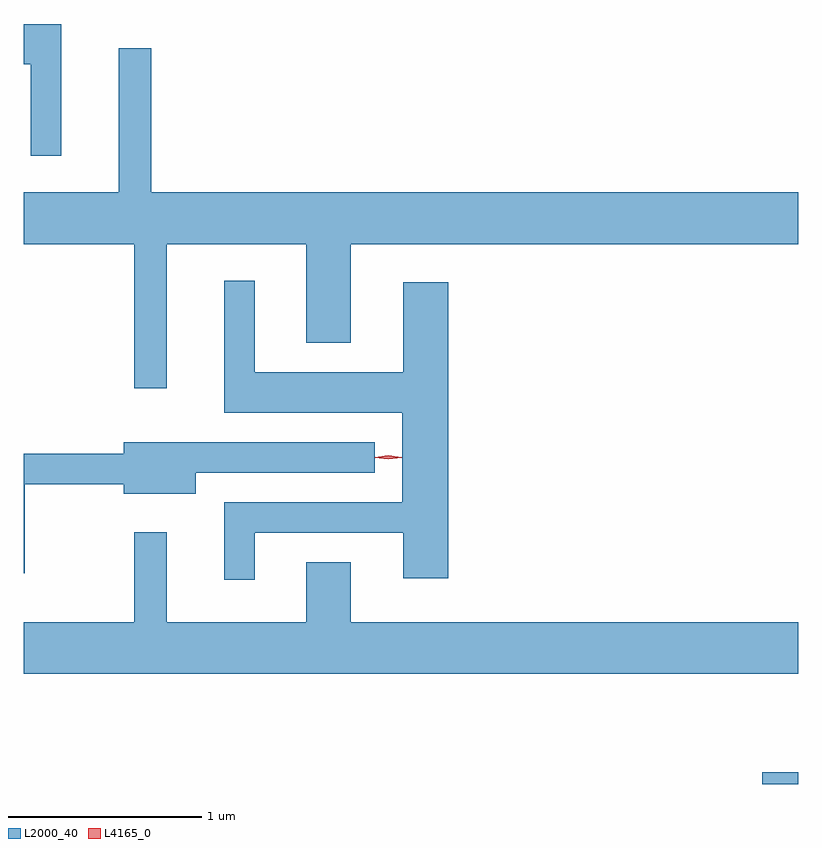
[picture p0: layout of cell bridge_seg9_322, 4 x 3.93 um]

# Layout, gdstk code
import gdstk
lib = gdstk.Library(unit=1e-6, precision=1e-09)
def R(c, l, rs):  # rectangles x0, y0, x1, y1
    for r in rs: c.add(gdstk.rectangle(r[:2], r[2:], *l))
def P(c, l, *ps):  # polygons
    for p in ps: c.add(gdstk.Polygon(p, *l))
L2000_40 = (2000, 40)
L4165_0 = (4165, 0)

bridge_seg9_322 = lib.new_cell('bridge_seg9_322')
R(bridge_seg9_322, L2000_40, [(727.346,2022.327,727.531,2022.389)])
P(bridge_seg9_322, L2000_40, [(723.724,2026.254),(723.531,2026.254),(723.531,2026.046),(723.566,2026.046),(723.566,2025.573),(723.724,2025.573)],
  [(724.269,2025.116),(724.991,2025.116),(724.991,2024.606),(725.219,2024.606),(725.219,2025.116),(727.531,2025.116),(727.531,2025.384),(724.189,2025.384),(724.189,2026.128),(724.021,2026.128),(724.021,2025.384),(723.531,2025.384),(723.531,2025.116),(724.101,2025.116),(724.101,2024.373),(724.269,2024.373)],
  [(724.724,2023.626),(725.491,2023.626),(725.491,2023.391),(725.724,2023.391),(725.724,2024.919),(725.491,2024.919),(725.491,2024.454),(724.724,2024.454),(724.724,2024.928),(724.566,2024.928),(724.566,2024.246),(725.486,2024.246),(725.486,2023.784),(724.566,2023.784),(724.566,2023.383),(724.724,2023.383)],
  [(723.534,2023.876),(724.046,2023.876),(724.046,2023.826),(724.419,2023.826),(724.419,2023.936),(725.343,2023.936),(725.343,2024.094),(724.046,2024.094),(724.046,2024.034),(723.531,2024.034),(723.531,2023.416),(723.534,2023.416)],
  [(727.531,2023.164),(725.219,2023.164),(725.219,2023.474),(724.991,2023.474),(724.991,2023.164),(724.269,2023.164),(724.269,2023.628),(724.101,2023.628),(724.101,2023.164),(723.531,2023.164),(723.531,2022.896),(727.531,2022.896)])
P(bridge_seg9_322, L4165_0, [(725.413,2024.005),(725.344,2024.014),(725.344,2024.015),(725.344,2024.015),(725.413,2024.025),(725.482,2024.015),(725.482,2024.015),(725.482,2024.014)],
  [(725.413,2024.005),(725.347,2024.014),(725.347,2024.015),(725.347,2024.015),(725.413,2024.025),(725.479,2024.015),(725.48,2024.015),(725.479,2024.014)])

lib.write_gds('bridge_seg9_322.gds')
